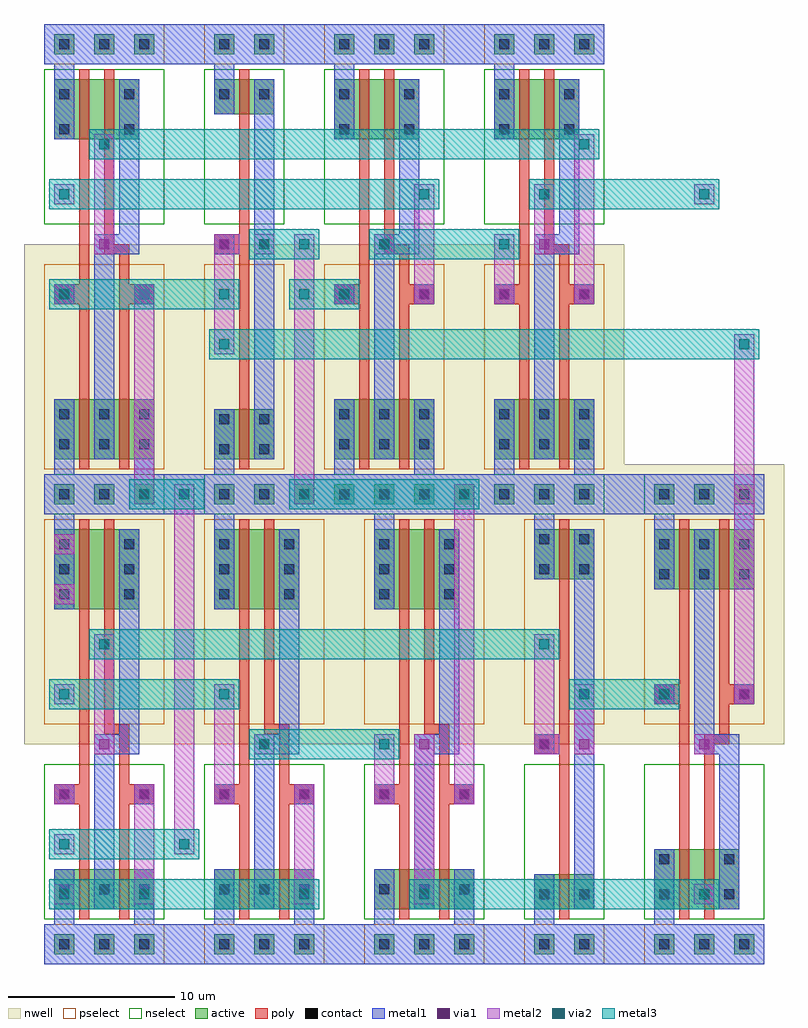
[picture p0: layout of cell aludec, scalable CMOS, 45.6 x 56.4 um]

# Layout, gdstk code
import gdstk
lib = gdstk.Library(unit=1e-6, precision=1e-09)
def R(c, l, rs):  # rectangles x0, y0, x1, y1
    for r in rs: c.add(gdstk.rectangle(r[:2], r[2:], *l))
def A(c, l, x, y, w, h, nx, ny, dx, dy):  # array of equal rectangles
    R(c, l, [(x+i*dx, y+j*dy, x+i*dx+w, y+j*dy+h) for i in range(nx) for j in range(ny)])
def P(c, l, *ps):  # polygons
    for p in ps: c.add(gdstk.Polygon(p, *l))
contact = (25, 0)
nwell = (42, 0)
active = (43, 0)
pselect = (44, 0)
nselect = (45, 0)
poly = (46, 0)
metal1 = (49, 0)
via1 = (50, 0)
metal2 = (51, 0)
via2 = (61, 0)
metal3 = (62, 0)

nor2_1x = lib.new_cell('nor2_1x')
A(nor2_1x, contact, 0.9, -0.3, 0.6, 0.6, 3, 2, 2.4, 3.3)
A(nor2_1x, contact, 0.9, 20.7, 0.6, 0.6, 1, 3, 0, 1.5)
A(nor2_1x, contact, 4.8, 20.7, 0.6, 0.6, 1, 3, 0, 1.5)
A(nor2_1x, contact, 0.9, 26.7, 0.6, 0.6, 3, 1, 2.4, 0)
R(nor2_1x, contact, [(0.9,8.7,1.5,9.3), (5.7,8.7,6.3,9.3)])
R(nor2_1x, nwell, [(-1.2,12,8.4,28.8)])
A(nor2_1x, active, 0.6, -0.6, 1.2, 1.2, 3, 2, 2.4, 27)
R(nor2_1x, active, [(0.6,2.1,6.6,4.5), (0.6,20.1,5.7,24.9)])
R(nor2_1x, pselect, [(0,-1.2,7.2,1.2), (0,13.2,7.2,25.5)])
R(nor2_1x, nselect, [(0,1.5,7.2,10.8), (0,25.8,7.2,28.2)])
R(nor2_1x, poly, [(2.1,1.5,2.7,25.5), (0.6,8.4,2.1,9.6), (5.1,8.4,6.6,9.6)])
P(nor2_1x, poly, [(5.1,13.2),(4.2,13.2),(4.2,25.5),(3.6,25.5),(3.6,12.6),(4.5,12.6),(4.5,1.5),(5.1,1.5)])
R(nor2_1x, metal1, [(0,-1.2,7.2,1.2), (0.6,8.4,1.8,9.6), (5.4,8.4,6.6,9.6), (0,25.8,7.2,28.2)])
P(nor2_1x, metal1, [(5.7,24.9),(4.5,24.9),(4.5,12.6),(3,12.6),(3,2.1),(4.2,2.1),(4.2,11.4),(5.7,11.4)],
  [(7.2,28.2),(0,28.2),(0,25.8),(0.6,25.8),(0.6,20.1),(1.8,20.1),(1.8,25.8),(7.2,25.8)],
  [(7.2,1.2),(6.6,1.2),(6.6,4.5),(5.4,4.5),(5.4,1.2),(1.8,1.2),(1.8,4.5),(0.6,4.5),(0.6,1.2),(0,1.2),(0,-1.2),(7.2,-1.2)])
R(nor2_1x, via1, [(0.9,8.7,1.5,9.3), (5.7,8.7,6.3,9.3), (3.3,11.7,3.9,12.3)])
R(nor2_1x, metal2, [(0.6,8.4,1.8,9.6), (5.4,8.4,6.6,9.6), (3,11.4,4.2,12.6)])

inv_1x = lib.new_cell('inv_1x')
R(inv_1x, contact, [(0.9,-0.3,1.5,0.3), (3.3,-0.3,3.9,0.3), (0.9,2.7,1.5,3.3), (3.3,2.7,3.9,3.3), (0.9,11.7,1.5,12.3), (0.9,22.2,1.5,22.8), (3.3,22.2,3.9,22.8), (0.9,24,1.5,24.6), (3.3,24,3.9,24.6), (0.9,26.7,1.5,27.3), (3.3,26.7,3.9,27.3)])
R(inv_1x, nwell, [(-1.2,12,6,28.8)])
R(inv_1x, active, [(0.6,-0.6,1.8,0.6), (3,-0.6,4.2,0.6), (0.6,2.1,4.2,4.2), (0.6,21.9,4.2,24.9), (0.6,26.4,1.8,27.6), (3,26.4,4.2,27.6)])
R(inv_1x, pselect, [(0,-1.2,4.8,1.2), (0,13.2,4.8,25.5)])
R(inv_1x, nselect, [(0,1.5,4.8,10.8), (0,25.8,4.8,28.2)])
R(inv_1x, poly, [(2.1,1.5,2.7,25.5), (0.6,11.4,2.1,12.6)])
R(inv_1x, metal1, [(0,-1.2,4.8,1.2), (0,-1.2,4.8,1.2), (0.6,1.2,1.8,4.2), (3,2.1,4.2,24.9), (0.6,11.4,1.8,12.6), (0.6,21.9,1.8,25.8), (0,25.8,4.8,28.2), (0,25.8,4.8,28.2)])
R(inv_1x, via1, [(0.9,11.7,1.5,12.3), (3.3,11.7,3.9,12.3)])
R(inv_1x, metal2, [(0.6,11.4,1.8,12.6), (0.6,11.4,1.8,12.6), (0.6,11.4,1.8,12.6), (0.9,11.4,2.1,12.6), (3,11.4,4.2,12.6), (3,11.4,4.2,12.6)])

nand2_1x = lib.new_cell('nand2_1x')
A(nand2_1x, contact, 0.9, -0.3, 0.6, 0.6, 3, 2, 2.4, 22.2)
A(nand2_1x, contact, 0.9, 23.7, 0.6, 0.6, 3, 2, 2.4, 3)
R(nand2_1x, contact, [(0.9,2.7,1.5,3.3), (4.8,2.7,5.4,3.3), (0.9,4.8,1.5,5.4), (4.8,4.8,5.4,5.4), (0.9,14.7,1.5,15.3), (5.7,14.7,6.3,15.3)])
R(nand2_1x, nwell, [(-1.2,12,8.4,28.8)])
A(nand2_1x, active, 0.6, -0.6, 1.2, 1.2, 3, 2, 2.4, 27)
R(nand2_1x, active, [(0.6,2.1,5.7,5.7), (0.6,21.3,6.6,24.9)])
R(nand2_1x, pselect, [(0,-1.2,7.2,1.2), (0,13.2,7.2,25.5)])
R(nand2_1x, nselect, [(0,1.5,7.2,10.8), (0,25.8,7.2,28.2)])
P(nand2_1x, poly, [(2.7,25.5),(2.1,25.5),(2.1,15.6),(0.6,15.6),(0.6,14.4),(2.1,14.4),(2.1,1.5),(2.7,1.5)],
  [(6.6,15.6),(5.1,15.6),(5.1,25.5),(4.5,25.5),(4.5,12.6),(3.6,12.6),(3.6,1.5),(4.2,1.5),(4.2,12),(5.1,12),(5.1,14.4),(6.6,14.4)])
R(nand2_1x, metal1, [(0,-1.2,7.2,1.2), (0.6,14.4,1.8,15.6), (5.4,14.4,6.6,15.6), (0,25.8,7.2,28.2)])
P(nand2_1x, metal1, [(5.7,12.6),(4.2,12.6),(4.2,24.9),(3,24.9),(3,11.4),(4.5,11.4),(4.5,2.1),(5.7,2.1)],
  [(7.2,28.2),(0,28.2),(0,25.8),(0.6,25.8),(0.6,21.3),(1.8,21.3),(1.8,25.8),(5.4,25.8),(5.4,21.3),(6.6,21.3),(6.6,25.8),(7.2,25.8)],
  [(7.2,1.2),(1.8,1.2),(1.8,5.7),(0.6,5.7),(0.6,1.2),(0,1.2),(0,-1.2),(7.2,-1.2)])
R(nand2_1x, via1, [(3.3,11.7,3.9,12.3), (0.9,14.7,1.5,15.3), (5.7,14.7,6.3,15.3)])
R(nand2_1x, metal2, [(3,11.4,4.2,12.6), (3,11.4,4.2,12.6), (0.6,14.4,1.8,15.6), (0.6,14.4,1.8,15.6), (5.4,14.4,6.6,15.6), (5.4,14.4,6.6,15.6)])

aludec = lib.new_cell('aludec')
R(aludec, metal1, [(1.2,-1.2,44.4,1.2), (1.2,25.8,44.4,28.2), (1.2,52.8,34.8,55.2)])
A(aludec, metal2, 1.8, 2.4, 1.2, 1.2, 1, 3, 0, 3)
R(aludec, metal2, [(6.6,2.4,7.8,9.6), (16.2,2.4,17.4,9.6), (23.4,2.4,24.6,12.6), (40.2,2.4,41.4,3.6), (9,5.4,10.2,27.6), (11.4,8.4,12.6,15.6), (21,8.4,22.2,12.6), (25.8,8.4,27,27.6), (4.2,11.4,5.4,18.6), (30.6,11.4,31.8,18.6), (33,11.4,34.2,15.6), (40.2,11.4,41.4,12.6), (1.8,14.4,3,15.6), (42.6,14.4,43.8,36.6), (1.8,20.4,3,21.6), (1.8,23.4,3,24.6), (6.6,26.4,7.8,39.6), (16.2,26.4,17.4,42.6), (11.4,35.4,12.6,42.6), (1.8,38.4,3,39.6), (23.4,38.4,24.6,45.6), (28.2,38.4,29.4,42.6), (33,38.4,34.2,48.6), (4.2,41.4,5.4,48.6), (30.6,41.4,31.8,45.6), (1.8,44.4,3,45.6), (40.2,44.4,41.4,45.6)])
R(aludec, via2, [(2.1,2.7,2.7,3.3), (6.9,2.7,7.5,3.3), (16.5,2.7,17.1,3.3), (23.7,2.7,24.3,3.3), (40.5,2.7,41.1,3.3), (2.1,5.7,2.7,6.3), (9.3,5.7,9.9,6.3), (14.1,11.7,14.7,12.3), (21.3,11.7,21.9,12.3), (2.1,14.7,2.7,15.3), (11.7,14.7,12.3,15.3), (33.3,14.7,33.9,15.3), (38.1,14.7,38.7,15.3), (4.5,17.7,5.1,18.3), (30.9,17.7,31.5,18.3), (6.9,26.7,7.5,27.3), (9.3,26.7,9.9,27.3), (16.5,26.7,17.1,27.3), (26.1,26.7,26.7,27.3), (11.7,35.7,12.3,36.3), (42.9,35.7,43.5,36.3), (2.1,38.7,2.7,39.3), (11.7,38.7,12.3,39.3), (16.5,38.7,17.1,39.3), (18.9,38.7,19.5,39.3), (14.1,41.7,14.7,42.3), (16.5,41.7,17.1,42.3), (21.3,41.7,21.9,42.3), (28.5,41.7,29.1,42.3), (2.1,44.7,2.7,45.3), (23.7,44.7,24.3,45.3), (30.9,44.7,31.5,45.3), (40.5,44.7,41.1,45.3), (4.5,47.7,5.1,48.3), (33.3,47.7,33.9,48.3)])
R(aludec, metal3, [(1.5,2.1,17.7,3.9), (23.1,2.1,41.7,3.9), (1.5,5.1,10.5,6.9), (13.5,11.1,22.5,12.9), (1.5,14.1,12.9,15.9), (32.7,14.1,39.3,15.9), (3.9,17.1,32.1,18.9), (6.3,26.1,10.8,27.9), (15.9,26.1,27.3,27.9), (11.1,35.1,44.1,36.9), (1.5,38.1,12.9,39.9), (15.9,38.1,20.1,39.9), (13.5,41.1,17.7,42.9), (20.7,41.1,29.7,42.9), (1.5,44.1,24.9,45.9), (30.3,44.1,41.7,45.9), (3.9,47.1,34.5,48.9)])
aludec.add(gdstk.Reference(nor2_1x, (20.4,0)))
aludec.add(gdstk.Reference(nor2_1x, (10.8,0)))
aludec.add(gdstk.Reference(nor2_1x, (1.2,0)))
aludec.add(gdstk.Reference(inv_1x, (10.8,54), x_reflection=True))
aludec.add(gdstk.Reference(inv_1x, (30,0)))
aludec.add(gdstk.Reference(nand2_1x, (27.6,54), x_reflection=True))
aludec.add(gdstk.Reference(nand2_1x, (18,54), x_reflection=True))
aludec.add(gdstk.Reference(nand2_1x, (1.2,54), x_reflection=True))
aludec.add(gdstk.Reference(nand2_1x, (37.2,0)))

lib.write_gds('aludec.gds')
